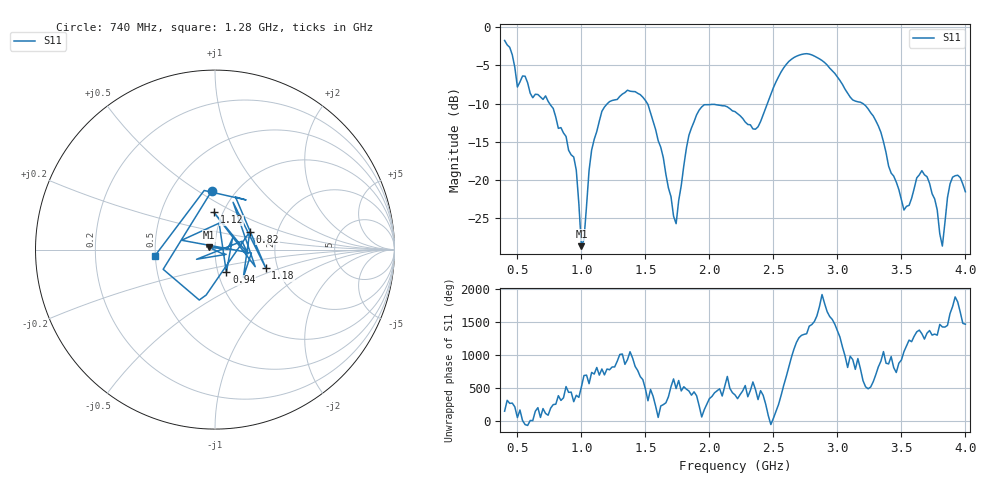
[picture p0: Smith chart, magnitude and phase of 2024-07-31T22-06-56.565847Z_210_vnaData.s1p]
!Created with skrf (http://scikit-rf.org).
# Hz S RI R 50.0
!freq ReS11 ImS11
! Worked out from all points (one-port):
!   181 points, 400 MHz to 4 GHz, reference 50 ohm
!   lowest |S11| = -28.6 dB at 1 GHz (marker M1), VSWR 1.08, Z = 46.6 + j1.2 ohm
!   |S11| at or under -10 dB: 752.1 MHz to 1.202 GHz (450.4 MHz wide, 46.1 % of centre); 1.516 GHz to 2.453 GHz (936.3 MHz wide, 47.2 % of centre); 3.201 GHz to end of sweep
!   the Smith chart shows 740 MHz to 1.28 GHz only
!   S11 on the Smith chart (normalised r, x): 740 MHz: 0.78, +0.57; 820 MHz: 1.44, +0.30; 940 MHz: 1.10, -0.28; 1.12 GHz: 0.91, +0.39; 1.18 GHz: 1.73, -0.39; 1.28 GHz: 0.50, -0.04
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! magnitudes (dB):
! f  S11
! 400 MHz  -1.7
! 500 MHz  -7.8
! 740 MHz  -9.7
! 820 MHz  -13.2
! 860 MHz  -13.8
! 940 MHz  -17.0
! 1 GHz  -28.6
! 1.08 GHz  -16.1
! 1.12 GHz  -13.6
! 1.18 GHz  -10.4
! 1.28 GHz  -9.4
! 1.3 GHz  -9.0
! 1.52 GHz  -10.1
! 1.72 GHz  -24.7
! 1.76 GHz  -22.7
! 1.84 GHz  -14.1
! 1.92 GHz  -10.8
! 2.2 GHz  -11.0
! 2.36 GHz  -13.3
! 2.66 GHz  -4.0
! 3.1 GHz  -9.1
! 3.28 GHz  -11.6
! 3.52 GHz  -23.9
! 3.56 GHz  -23.3
! 3.7 GHz  -19.6
! 3.82 GHz  -28.6
! 3.9 GHz  -19.6
! 4 GHz  -21.5
